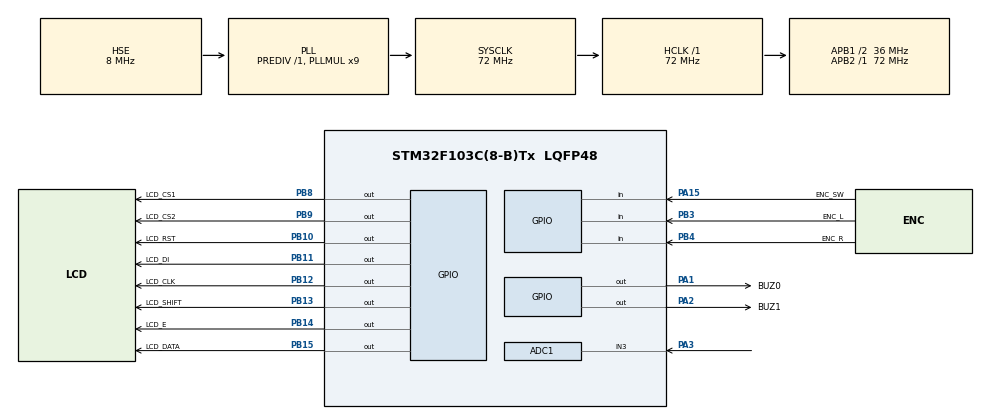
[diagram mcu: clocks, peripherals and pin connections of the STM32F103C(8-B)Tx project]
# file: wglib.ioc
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ADC1.Channel-0\#ChannelRegularConversion=ADC_CHANNEL_3
ADC1.ContinuousConvMode=ENABLE
ADC1.NbrOfConversionFlag=1
ADC1.Rank-0\#ChannelRegularConversion=1
ADC1.SamplingTime-0\#ChannelRegularConversion=ADC_SAMPLETIME_13CYCLES_5
ADC1.master=1
Dma.ADC1.0.Direction=DMA_PERIPH_TO_MEMORY
Dma.ADC1.0.Instance=DMA1_Channel1
Dma.ADC1.0.MemDataAlignment=DMA_MDATAALIGN_HALFWORD
Dma.ADC1.0.MemInc=DMA_MINC_ENABLE
Dma.ADC1.0.Mode=DMA_NORMAL
Dma.ADC1.0.PeriphDataAlignment=DMA_PDATAALIGN_HALFWORD
Dma.ADC1.0.PeriphInc=DMA_PINC_DISABLE
Dma.ADC1.0.Priority=DMA_PRIORITY_VERY_HIGH
Dma.Request0=ADC1
Mcu.Family=STM32F1
Mcu.Name=STM32F103C(8-B)Tx
Mcu.Package=LQFP48
NVIC.DMA1_Channel1_IRQn=true\:0\:0\:false\:false\:true\:false\:true
NVIC.PriorityGroup=NVIC_PRIORITYGROUP_4
NVIC.RTC_IRQn=true\:0\:0\:false\:false\:true\:true\:true
NVIC.TIM4_IRQn=true\:2\:0\:true\:false\:true\:true\:true
PA1.GPIO_Label=BUZ0
PA1.Signal=GPIO_Output
PA13.Mode=Serial_Wire
PA13.Signal=SYS_JTMS-SWDIO
PA14.Mode=Serial_Wire
PA14.Signal=SYS_JTCK-SWCLK
PA15.GPIO_Label=ENC_SW
PA15.Signal=GPIO_Input
PA2.GPIO_Label=BUZ1
PA2.Signal=GPIO_Output
PA3.Signal=ADCx_IN3
PB10.GPIO_Label=LCD_RST
PB10.GPIO_Speed=GPIO_SPEED_FREQ_HIGH
PB10.PinState=GPIO_PIN_SET
PB10.Signal=GPIO_Output
PB11.GPIO_Label=LCD_DI
PB11.GPIO_Speed=GPIO_SPEED_FREQ_HIGH
PB11.Signal=GPIO_Output
PB12.GPIO_Label=LCD_CLK
PB12.GPIO_Speed=GPIO_SPEED_FREQ_HIGH
PB12.Signal=GPIO_Output
PB13.GPIO_Label=LCD_SHIFT
PB13.GPIO_Speed=GPIO_SPEED_FREQ_HIGH
PB13.Signal=GPIO_Output
PB14.GPIO_Label=LCD_E
PB14.GPIO_Speed=GPIO_SPEED_FREQ_HIGH
PB14.Signal=GPIO_Output
PB15.GPIO_Label=LCD_DATA
PB15.Signal=GPIO_Output
PB3.GPIO_Label=ENC_L
PB3.Signal=GPIO_Input
PB4.GPIO_Label=ENC_R
PB4.Signal=GPIO_Input
PB8.GPIO_Label=LCD_CS1
PB8.GPIO_Speed=GPIO_SPEED_FREQ_HIGH
PB8.Signal=GPIO_Output
PB9.GPIO_Label=LCD_CS2
PB9.GPIO_Speed=GPIO_SPEED_FREQ_HIGH
PB9.Signal=GPIO_Output
PC14-OSC32_IN.Mode=LSE-External-Oscillator
PC14-OSC32_IN.Signal=RCC_OSC32_IN
PC15-OSC32_OUT.Mode=LSE-External-Oscillator
PC15-OSC32_OUT.Signal=RCC_OSC32_OUT
PD0-OSC_IN.Mode=HSE-External-Oscillator
PD0-OSC_IN.Signal=RCC_OSC_IN
PD1-OSC_OUT.Mode=HSE-External-Oscillator
PD1-OSC_OUT.Signal=RCC_OSC_OUT
ProjectManager.HeapSize=0x200
ProjectManager.StackSize=0x400
ProjectManager.TargetToolchain=Makefile
RCC.ADCPresc=RCC_ADCPCLK2_DIV6
RCC.AHBFreq_Value=72000000
RCC.APB1CLKDivider=RCC_HCLK_DIV2
RCC.APB1Freq_Value=36000000
RCC.APB1TimFreq_Value=72000000
RCC.APB2Freq_Value=72000000
RCC.APB2TimFreq_Value=72000000
RCC.HCLKFreq_Value=72000000
RCC.PLLMUL=RCC_PLL_MUL9
RCC.PLLSourceVirtual=RCC_PLLSOURCE_HSE
RCC.RTCClockSelection=RCC_RTCCLKSOURCE_LSE
RCC.SYSCLKFreq_VALUE=72000000
RCC.SYSCLKSource=RCC_SYSCLKSOURCE_PLLCLK
RCC.USBFreq_Value=72000000
RTC.Format=RTC_FORMAT_BIN
SH.ADCx_IN3.0=ADC1_IN3,IN3
TIM4.AutoReloadPreload=TIM_AUTORELOAD_PRELOAD_ENABLE
TIM4.Prescaler=719
TIM4.TIM_MasterOutputTrigger=TIM_TRGO_UPDATE
VP_RTC_VS_RTC_Activate.Mode=RTC_Enabled
VP_TIM4_VS_ClockSourceINT.Mode=Internal
board=custom

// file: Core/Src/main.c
/* USER CODE BEGIN Header */
/**
  ******************************************************************************
  * @file           : main.c
  * @brief          : Main program body
  ******************************************************************************
  * @attention
  *
  * Copyright (c) 2022 STMicroelectronics.
  * All rights reserved.
  *
  * This software is licensed under terms that can be found in the LICENSE file
  * in the root directory of this software component.
  * If no LICENSE file comes with this software, it is provided AS-IS.
  *
  ******************************************************************************
  */
/* USER CODE END Header */
#include "main.h"

/* USER CODE BEGIN Includes */
#include "gui/gui.h"
#include "lcd.h"
#include "rotary_encoder.h"
#include "buzzer.h"
#include "lcdwg.h"
#include "stm32f1xx_hal.h"
#include "adc_global.h"
#include "m_rtc.h"
#include "stm32f1xx_hal_adc.h"
#include "stm32f1xx_hal_rtc.h"
#include "stm32f1xx_hal_rtc_ex.h"
#include "stm32f1xx_hal_tim.h"
#include <stdio.h>
/* USER CODE END Includes */

ADC_HandleTypeDef hadc1;
DMA_HandleTypeDef hdma_adc1;

RTC_HandleTypeDef hrtc;

TIM_HandleTypeDef htim4;

/* USER CODE BEGIN PV */
ug_t ug;
volatile uint16_t adc_value;
RTC_TimeTypeDef sTime = {0};
RTC_DateTypeDef sDate = {0};
char showTime[10] = {0,};
char showDate[12] = {0,};
/* USER CODE END PV */

void SystemClock_Config(void);
static void MX_GPIO_Init(void);
static void MX_RTC_Init(void);
static void MX_DMA_Init(void);
static void MX_ADC1_Init(void);
static void MX_TIM4_Init(void);

/* USER CODE BEGIN 0 */
void Init(void) {
	buzzer_init();
	gui_init();
	ADC_Init(&hadc1);
	lcd_init(&RE_Get,&RE1_Data);
	RE_Init((RE_State_t*)&RE1_Data, ENC_L_GPIO_Port, ENC_L_Pin, ENC_R_GPIO_Port, ENC_R_Pin, ENC_SW_GPIO_Port, ENC_SW_Pin);
	ug_Init();
}

void setDateTime(void) {
	sTime.Hours = 17;
	sTime.Minutes = 8;
	sTime.Seconds = 0;
	if(mRTC_SetTime(&hrtc, &sTime, RTC_FORMAT_BIN) != HAL_OK)
		Error_Handler();
	sDate.Date = 13;
	sDate.Month = 3;
	sDate.Year = 22;
	if(mRTC_SetDate(&hrtc, &sDate, RTC_FORMAT_BIN) != HAL_OK)
		Error_Handler();
}
/* USER CODE END 0 */

int main(void)
{

  /* MCU Configuration--------------------------------------------------------*/

  /* Reset of all peripherals, Initializes the Flash interface and the Systick. */
  HAL_Init();

  /* Configure the system clock */
  SystemClock_Config();

  /* Initialize all configured peripherals */
  MX_GPIO_Init();
  MX_RTC_Init();
  MX_DMA_Init();
  MX_ADC1_Init();
  MX_TIM4_Init();
  /* USER CODE BEGIN 2 */
  Init();
  HAL_TIM_Base_Start_IT(&htim4);
  HAL_RTCEx_SetSecond_IT(&hrtc);
  mRTC_Begin(&hrtc);
  /* setDateTime(); */
  /* USER CODE END 2 */

  /* Infinite loop */
  /* USER CODE BEGIN WHILE */
  buzzer_short_beep();
  /* ug_DrawFrame(&ug, 0, 50, 100, 10); */
  /* ug_FillRectangle(&ug, 0, 20, 160, 10); */
  /* ug_SetFont(&ug, &Arial7); */
  /* ug_SetMode(&ug, LCD_MODE_INVERSE); */
  /* ug_DrawString(&ug, 1, 21, "WELCOME"); */
  /* ug_Update(); */
  uint32_t lastTimeDisplay = HAL_GetTick();
  /* lcd_draw(); */
  while (1)
  {
    /* USER CODE END WHILE */

    /* USER CODE BEGIN 3 */
	  if(HAL_GetTick() - lastTimeDisplay > 200) {
		  lcd_processInput();
		  lcd_update();
		  lcd_draw();
		  lastTimeDisplay = HAL_GetTick();
	  }
  }
  /* USER CODE END 3 */
}

void SystemClock_Config(void)
{
  RCC_OscInitTypeDef RCC_OscInitStruct = {0};
  RCC_ClkInitTypeDef RCC_ClkInitStruct = {0};
  RCC_PeriphCLKInitTypeDef PeriphClkInit = {0};

  /** Initializes the RCC Oscillators according to the specified parameters
  * in the RCC_OscInitTypeDef structure.
  */
  RCC_OscInitStruct.OscillatorType = RCC_OSCILLATORTYPE_HSE|RCC_OSCILLATORTYPE_LSE;
  RCC_OscInitStruct.HSEState = RCC_HSE_ON;
  RCC_OscInitStruct.HSEPredivValue = RCC_HSE_PREDIV_DIV1;
  RCC_OscInitStruct.LSEState = RCC_LSE_ON;
  RCC_OscInitStruct.HSIState = RCC_HSI_ON;
  RCC_OscInitStruct.PLL.PLLState = RCC_PLL_ON;
  RCC_OscInitStruct.PLL.PLLSource = RCC_PLLSOURCE_HSE;
  RCC_OscInitStruct.PLL.PLLMUL = RCC_PLL_MUL9;
  if (HAL_RCC_OscConfig(&RCC_OscInitStruct) != HAL_OK)
  {
    Error_Handler();
  }
  /** Initializes the CPU, AHB and APB buses clocks
  */
  RCC_ClkInitStruct.ClockType = RCC_CLOCKTYPE_HCLK|RCC_CLOCKTYPE_SYSCLK
                              |RCC_CLOCKTYPE_PCLK1|RCC_CLOCKTYPE_PCLK2;
  RCC_ClkInitStruct.SYSCLKSource = RCC_SYSCLKSOURCE_PLLCLK;
  RCC_ClkInitStruct.AHBCLKDivider = RCC_SYSCLK_DIV1;
  RCC_ClkInitStruct.APB1CLKDivider = RCC_HCLK_DIV2;
  RCC_ClkInitStruct.APB2CLKDivider = RCC_HCLK_DIV1;

  if (HAL_RCC_ClockConfig(&RCC_ClkInitStruct, FLASH_LATENCY_2) != HAL_OK)
  {
    Error_Handler();
  }
  PeriphClkInit.PeriphClockSelection = RCC_PERIPHCLK_RTC|RCC_PERIPHCLK_ADC;
  PeriphClkInit.RTCClockSelection = RCC_RTCCLKSOURCE_LSE;
  PeriphClkInit.AdcClockSelection = RCC_ADCPCLK2_DIV6;
  if (HAL_RCCEx_PeriphCLKConfig(&PeriphClkInit) != HAL_OK)
  {
    Error_Handler();
  }
}

static void MX_ADC1_Init(void)
{

  ADC_ChannelConfTypeDef sConfig = {0};

  /** Common config
  */
  hadc1.Instance = ADC1;
  hadc1.Init.ScanConvMode = ADC_SCAN_DISABLE;
  hadc1.Init.ContinuousConvMode = ENABLE;
  hadc1.Init.DiscontinuousConvMode = DISABLE;
  hadc1.Init.ExternalTrigConv = ADC_SOFTWARE_START;
  hadc1.Init.DataAlign = ADC_DATAALIGN_RIGHT;
  hadc1.Init.NbrOfConversion = 1;
  if (HAL_ADC_Init(&hadc1) != HAL_OK)
  {
    Error_Handler();
  }
  /** Configure Regular Channel
  */
  sConfig.Channel = ADC_CHANNEL_3;
  sConfig.Rank = ADC_REGULAR_RANK_1;
  sConfig.SamplingTime = ADC_SAMPLETIME_13CYCLES_5;
  if (HAL_ADC_ConfigChannel(&hadc1, &sConfig) != HAL_OK)
  {
    Error_Handler();
  }

}

static void MX_RTC_Init(void)
{

  /** Initialize RTC Only
  */
  hrtc.Instance = RTC;
  hrtc.Init.AsynchPrediv = RTC_AUTO_1_SECOND;
  hrtc.Init.OutPut = RTC_OUTPUTSOURCE_ALARM;
  if (HAL_RTC_Init(&hrtc) != HAL_OK)
  {
    Error_Handler();
  }

}

static void MX_TIM4_Init(void)
{

  TIM_ClockConfigTypeDef sClockSourceConfig = {0};
  TIM_MasterConfigTypeDef sMasterConfig = {0};

  htim4.Instance = TIM4;
  htim4.Init.Prescaler = 719;
  htim4.Init.CounterMode = TIM_COUNTERMODE_UP;
  htim4.Init.Period = 65535;
  htim4.Init.ClockDivision = TIM_CLOCKDIVISION_DIV1;
  htim4.Init.AutoReloadPreload = TIM_AUTORELOAD_PRELOAD_ENABLE;
  if (HAL_TIM_Base_Init(&htim4) != HAL_OK)
  {
    Error_Handler();
  }
  sClockSourceConfig.ClockSource = TIM_CLOCKSOURCE_INTERNAL;
  if (HAL_TIM_ConfigClockSource(&htim4, &sClockSourceConfig) != HAL_OK)
  {
    Error_Handler();
  }
  sMasterConfig.MasterOutputTrigger = TIM_TRGO_UPDATE;
  sMasterConfig.MasterSlaveMode = TIM_MASTERSLAVEMODE_DISABLE;
  if (HAL_TIMEx_MasterConfigSynchronization(&htim4, &sMasterConfig) != HAL_OK)
  {
    Error_Handler();
  }

}

static void MX_DMA_Init(void)
{

  /* DMA controller clock enable */
  __HAL_RCC_DMA1_CLK_ENABLE();

  /* DMA interrupt init */
  /* DMA1_Channel1_IRQn interrupt configuration */
  HAL_NVIC_SetPriority(DMA1_Channel1_IRQn, 0, 0);
  HAL_NVIC_EnableIRQ(DMA1_Channel1_IRQn);

}

static void MX_GPIO_Init(void)
{
  GPIO_InitTypeDef GPIO_InitStruct = {0};

  /* GPIO Ports Clock Enable */
  __HAL_RCC_GPIOC_CLK_ENABLE();
  __HAL_RCC_GPIOD_CLK_ENABLE();
  __HAL_RCC_GPIOA_CLK_ENABLE();
  __HAL_RCC_GPIOB_CLK_ENABLE();

  /*Configure GPIO pin Output Level */
  HAL_GPIO_WritePin(GPIOA, BUZ0_Pin|BUZ1_Pin, GPIO_PIN_RESET);

  /*Configure GPIO pin Output Level */
  HAL_GPIO_WritePin(LCD_RST_GPIO_Port, LCD_RST_Pin, GPIO_PIN_SET);

  /*Configure GPIO pin Output Level */
  HAL_GPIO_WritePin(GPIOB, LCD_DI_Pin|LCD_CLK_Pin|LCD_SHIFT_Pin|LCD_E_Pin
                          |LCD_DATA_Pin|LCD_CS1_Pin|LCD_CS2_Pin, GPIO_PIN_RESET);

  /*Configure GPIO pins : BUZ0_Pin BUZ1_Pin */
  GPIO_InitStruct.Pin = BUZ0_Pin|BUZ1_Pin;
  GPIO_InitStruct.Mode = GPIO_MODE_OUTPUT_PP;
  GPIO_InitStruct.Pull = GPIO_NOPULL;
  GPIO_InitStruct.Speed = GPIO_SPEED_FREQ_LOW;
  HAL_GPIO_Init(GPIOA, &GPIO_InitStruct);

  /*Configure GPIO pins : LCD_RST_Pin LCD_DI_Pin LCD_CLK_Pin LCD_SHIFT_Pin
                           LCD_E_Pin LCD_CS1_Pin LCD_CS2_Pin */
  GPIO_InitStruct.Pin = LCD_RST_Pin|LCD_DI_Pin|LCD_CLK_Pin|LCD_SHIFT_Pin
                          |LCD_E_Pin|LCD_CS1_Pin|LCD_CS2_Pin;
  GPIO_InitStruct.Mode = GPIO_MODE_OUTPUT_PP;
  GPIO_InitStruct.Pull = GPIO_NOPULL;
  GPIO_InitStruct.Speed = GPIO_SPEED_FREQ_HIGH;
  HAL_GPIO_Init(GPIOB, &GPIO_InitStruct);

  /*Configure GPIO pin : LCD_DATA_Pin */
  GPIO_InitStruct.Pin = LCD_DATA_Pin;
  GPIO_InitStruct.Mode = GPIO_MODE_OUTPUT_PP;
  GPIO_InitStruct.Pull = GPIO_NOPULL;
  GPIO_InitStruct.Speed = GPIO_SPEED_FREQ_LOW;
  HAL_GPIO_Init(LCD_DATA_GPIO_Port, &GPIO_InitStruct);

  /*Configure GPIO pin : ENC_SW_Pin */
  GPIO_InitStruct.Pin = ENC_SW_Pin;
  GPIO_InitStruct.Mode = GPIO_MODE_INPUT;
  GPIO_InitStruct.Pull = GPIO_NOPULL;
  HAL_GPIO_Init(ENC_SW_GPIO_Port, &GPIO_InitStruct);

  /*Configure GPIO pins : ENC_L_Pin ENC_R_Pin */
  GPIO_InitStruct.Pin = ENC_L_Pin|ENC_R_Pin;
  GPIO_InitStruct.Mode = GPIO_MODE_INPUT;
  GPIO_InitStruct.Pull = GPIO_NOPULL;
  HAL_GPIO_Init(GPIOB, &GPIO_InitStruct);

}

/* USER CODE BEGIN 4 */
void Program_Handler(void) {
	handle_buzzer();
	RE_Process(&RE1_Data);
}

void HAL_RTCEx_RTCEventCallback(RTC_HandleTypeDef *hrtc) {
	mRTC_GetTime(hrtc, &sTime, RTC_FORMAT_BIN);
	snprintf(showTime, 9, "%02d:%02d:%02d", sTime.Hours, sTime.Minutes, sTime.Seconds);
}

void HAL_TIM_PeriodElapsedCallback(TIM_HandleTypeDef *htim) {
	if(htim == &htim4) {
		if(HAL_ADC_Start_DMA(&hadc1, (uint32_t*)&adc_value, 1) != HAL_OK) {
			Error_Handler();
		}
	}
}
/* USER CODE END 4 */

void Error_Handler(void)
{
  __disable_irq();
  while (1)
  {
  }
}

#ifdef  USE_FULL_ASSERT
/**
  * @brief  Reports the name of the source file and the source line number
  *         where the assert_param error has occurred.
  * @param  file: pointer to the source file name
  * @param  line: assert_param error line source number
  * @retval None
  */
void assert_failed(uint8_t *file, uint32_t line)
{
  /* USER CODE BEGIN 6 */
  /* User can add his own implementation to report the file name and line number,
      printf("Wrong parameters value: file %s on line %d\r\n", file, line) */
  /* USER CODE END 6 */
}
#endif /* USE_FULL_ASSERT */
